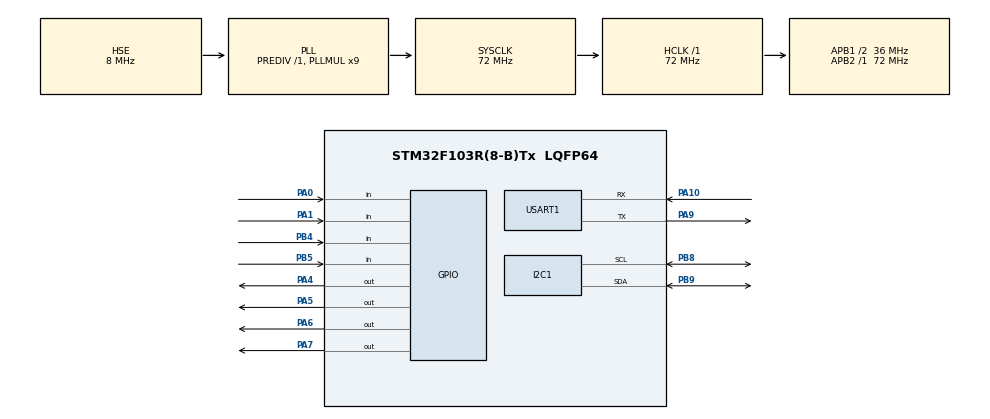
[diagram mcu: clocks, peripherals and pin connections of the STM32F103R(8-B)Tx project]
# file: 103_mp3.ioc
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Mcu.Family=STM32F1
Mcu.Name=STM32F103R(8-B)Tx
Mcu.Package=LQFP64
NVIC.PriorityGroup=NVIC_PRIORITYGROUP_4
PA0-WKUP.Signal=GPIO_Input
PA1.Signal=GPIO_Input
PA10.Mode=Asynchronous
PA10.Signal=USART1_RX
PA13.Mode=Serial_Wire
PA13.Signal=SYS_JTMS-SWDIO
PA14.Mode=Serial_Wire
PA14.Signal=SYS_JTCK-SWCLK
PA4.Signal=GPIO_Output
PA5.Signal=GPIO_Output
PA6.Signal=GPIO_Output
PA7.Signal=GPIO_Output
PA9.Mode=Asynchronous
PA9.Signal=USART1_TX
PB4.Signal=GPIO_Input
PB5.Signal=GPIO_Input
PB8.Mode=I2C
PB8.Signal=I2C1_SCL
PB9.Mode=I2C
PB9.Signal=I2C1_SDA
PD0-OSC_IN.Mode=HSE-External-Oscillator
PD0-OSC_IN.Signal=RCC_OSC_IN
PD1-OSC_OUT.Mode=HSE-External-Oscillator
PD1-OSC_OUT.Signal=RCC_OSC_OUT
ProjectManager.HeapSize=0x200
ProjectManager.StackSize=0x400
ProjectManager.TargetToolchain=TrueSTUDIO
RCC.AHBFreq_Value=72000000
RCC.APB1CLKDivider=RCC_HCLK_DIV2
RCC.APB1Freq_Value=36000000
RCC.APB1TimFreq_Value=72000000
RCC.APB2Freq_Value=72000000
RCC.APB2TimFreq_Value=72000000
RCC.HCLKFreq_Value=72000000
RCC.PLLMUL=RCC_PLL_MUL9
RCC.PLLSourceVirtual=RCC_PLLSOURCE_HSE
RCC.SYSCLKFreq_VALUE=72000000
RCC.SYSCLKSource=RCC_SYSCLKSOURCE_PLLCLK
RCC.USBFreq_Value=72000000
USART1.VirtualMode=VM_ASYNC
board=custom

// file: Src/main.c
/* USER CODE BEGIN Header */
/**
  ******************************************************************************
  * @file           : main.c
  * @brief          : Main program body
  ******************************************************************************
  * @attention
  *
  * <h2><center>&copy; Copyright (c) 2019 STMicroelectronics.
  * All rights reserved.</center></h2>
  *
  * This software component is licensed by ST under BSD 3-Clause license,
  * the "License"; You may not use this file except in compliance with the
  * License. You may obtain a copy of the License at:
  *                        opensource.org/licenses/BSD-3-Clause
  *
  ******************************************************************************
  */
/* USER CODE END Header */

#include "main.h"

/* USER CODE BEGIN Includes */
#include "stm32f1xx_hal.h"
#include <stdlib.h>
#include <stdio.h>
/* USER CODE END Includes */

/* USER CODE BEGIN PTD */
#define R1_PORT GPIOA
#define R1_PIN GPIO_PIN_7

#define R2_PORT GPIOA
#define R2_PIN GPIO_PIN_6

#define R3_PORT GPIOA
#define R3_PIN GPIO_PIN_5

#define R4_PORT GPIOA
#define R4_PIN GPIO_PIN_4

#define C1_PORT GPIOB
#define C1_PIN GPIO_PIN_4

#define C2_PORT GPIOB
#define C2_PIN GPIO_PIN_5

#define C3_PORT GPIOA
#define C3_PIN GPIO_PIN_1

#define C4_PORT GPIOA
#define C4_PIN GPIO_PIN_0

/* USER CODE END PTD */

I2C_HandleTypeDef hi2c1;

UART_HandleTypeDef huart1;

void SystemClock_Config(void);
static void MX_GPIO_Init(void);
static void MX_I2C1_Init(void);
static void MX_USART1_UART_Init(void);

/* USER CODE BEGIN 0 */
int _write(int file, char *ptr, int len)
{
	HAL_UART_Transmit(&huart1,(uint8_t *)ptr, (uint16_t)len, 0xFFFFFFFF);
	return len;
}

uint8_t key;

char read_keypad (void)
{
	/* Make ROW 1 LOW and all other ROWs HIGH */
	HAL_GPIO_WritePin (R1_PORT, R1_PIN, GPIO_PIN_RESET);  //Pull the R1 low
	HAL_GPIO_WritePin (R2_PORT, R2_PIN, GPIO_PIN_SET);  // Pull the R2 High
	HAL_GPIO_WritePin (R3_PORT, R3_PIN, GPIO_PIN_SET);  // Pull the R3 High
	HAL_GPIO_WritePin (R4_PORT, R4_PIN, GPIO_PIN_SET);  // Pull the R4 High

	if (!(HAL_GPIO_ReadPin (C1_PORT, C1_PIN)))   // if the Col 1 is low
	{
		while (!(HAL_GPIO_ReadPin (C1_PORT, C1_PIN)));   // wait till the button is pressed
		return '1';
	}

	if (!(HAL_GPIO_ReadPin (C2_PORT, C2_PIN)))   // if the Col 2 is low
	{
		while (!(HAL_GPIO_ReadPin (C2_PORT, C2_PIN)));   // wait till the button is pressed
		return '2';
	}

	if (!(HAL_GPIO_ReadPin (C3_PORT, C3_PIN)))   // if the Col 3 is low
	{
		while (!(HAL_GPIO_ReadPin (C3_PORT, C3_PIN)));   // wait till the button is pressed
		return '3';
	}

	if (!(HAL_GPIO_ReadPin (C4_PORT, C4_PIN)))   // if the Col 4 is low
	{
		while (!(HAL_GPIO_ReadPin (C4_PORT, C4_PIN)));   // wait till the button is pressed
		return 'A';
	}

	/* Make ROW 2 LOW and all other ROWs HIGH */
	HAL_GPIO_WritePin (R1_PORT, R1_PIN, GPIO_PIN_SET);  //Pull the R1 low
	HAL_GPIO_WritePin (R2_PORT, R2_PIN, GPIO_PIN_RESET);  // Pull the R2 High
	HAL_GPIO_WritePin (R3_PORT, R3_PIN, GPIO_PIN_SET);  // Pull the R3 High
	HAL_GPIO_WritePin (R4_PORT, R4_PIN, GPIO_PIN_SET);  // Pull the R4 High

	if (!(HAL_GPIO_ReadPin (C1_PORT, C1_PIN)))   // if the Col 1 is low
	{
		while (!(HAL_GPIO_ReadPin (C1_PORT, C1_PIN)));   // wait till the button is pressed
		return '4';
	}

	if (!(HAL_GPIO_ReadPin (C2_PORT, C2_PIN)))   // if the Col 2 is low
	{
		while (!(HAL_GPIO_ReadPin (C2_PORT, C2_PIN)));   // wait till the button is pressed
		return '5';
	}

	if (!(HAL_GPIO_ReadPin (C3_PORT, C3_PIN)))   // if the Col 3 is low
	{
		while (!(HAL_GPIO_ReadPin (C3_PORT, C3_PIN)));   // wait till the button is pressed
		return '6';
	}

	if (!(HAL_GPIO_ReadPin (C4_PORT, C4_PIN)))   // if the Col 4 is low
	{
		while (!(HAL_GPIO_ReadPin (C4_PORT, C4_PIN)));   // wait till the button is pressed
		return 'B';
	}

	/* Make ROW 3 LOW and all other ROWs HIGH */
	HAL_GPIO_WritePin (R1_PORT, R1_PIN, GPIO_PIN_SET);  //Pull the R1 low
	HAL_GPIO_WritePin (R2_PORT, R2_PIN, GPIO_PIN_SET);  // Pull the R2 High
	HAL_GPIO_WritePin (R3_PORT, R3_PIN, GPIO_PIN_RESET);  // Pull the R3 High
	HAL_GPIO_WritePin (R4_PORT, R4_PIN, GPIO_PIN_SET);  // Pull the R4 High

	if (!(HAL_GPIO_ReadPin (C1_PORT, C1_PIN)))   // if the Col 1 is low
	{
		while (!(HAL_GPIO_ReadPin (C1_PORT, C1_PIN)));   // wait till the button is pressed
		return '7';
	}

	if (!(HAL_GPIO_ReadPin (C2_PORT, C2_PIN)))   // if the Col 2 is low
	{
		while (!(HAL_GPIO_ReadPin (C2_PORT, C2_PIN)));   // wait till the button is pressed
		return '8';
	}

	if (!(HAL_GPIO_ReadPin (C3_PORT, C3_PIN)))   // if the Col 3 is low
	{
		while (!(HAL_GPIO_ReadPin (C3_PORT, C3_PIN)));   // wait till the button is pressed
		return '9';
	}

	if (!(HAL_GPIO_ReadPin (C4_PORT, C4_PIN)))   // if the Col 4 is low
	{
		while (!(HAL_GPIO_ReadPin (C4_PORT, C4_PIN)));   // wait till the button is pressed
		return 'C';
	}

	/* Make ROW 4 LOW and all other ROWs HIGH */
	HAL_GPIO_WritePin (R1_PORT, R1_PIN, GPIO_PIN_SET);  //Pull the R1 low
	HAL_GPIO_WritePin (R2_PORT, R2_PIN, GPIO_PIN_SET);  // Pull the R2 High
	HAL_GPIO_WritePin (R3_PORT, R3_PIN, GPIO_PIN_SET);  // Pull the R3 High
	HAL_GPIO_WritePin (R4_PORT, R4_PIN, GPIO_PIN_RESET);  // Pull the R4 High

	if (!(HAL_GPIO_ReadPin (C1_PORT, C1_PIN)))   // if the Col 1 is low
	{
		while (!(HAL_GPIO_ReadPin (C1_PORT, C1_PIN)));   // wait till the button is pressed
		return '*';
	}

	if (!(HAL_GPIO_ReadPin (C2_PORT, C2_PIN)))   // if the Col 2 is low
	{
		while (!(HAL_GPIO_ReadPin (C2_PORT, C2_PIN)));   // wait till the button is pressed
		return '0';
	}

	if (!(HAL_GPIO_ReadPin (C3_PORT, C3_PIN)))   // if the Col 3 is low
	{
		while (!(HAL_GPIO_ReadPin (C3_PORT, C3_PIN)));   // wait till the button is pressed
		return '#';
	}
	if (!(HAL_GPIO_ReadPin (C4_PORT, C4_PIN)))   // if the Col 4 is low
	{
		while (!(HAL_GPIO_ReadPin (C4_PORT, C4_PIN)));   // wait till the button is pressed
		return 'D';
	}

	return 0x01;
}

#define delay_ms HAL_Delay
void delay_us(uint32_t us){  // 72MHz
    if(us>1){
        uint32_t count=us*8-6;
        while(count--); //asm volatile("nop");
    }
    else{
        uint32_t count=2;
        while(count--); // asm volatile("nop");
    }
}

#define ADDRESS   0x27<<1
#define RS1_EN1   0x05
#define RS1_EN0   0x01
#define RS0_EN1   0x04
#define RS0_EN0   0x00
#define BackLight 0x08

// RS-Q0 / RW-Q1 / EN-Q2 / BackLight-Q3 / D4-Q4 / D5-Q5 / D6-Q6 / D7-Q7
void LCD_DATA(uint8_t data) {
  uint8_t temp=(data & 0xF0)|RS1_EN1|BackLight;
  while(HAL_I2C_Master_Transmit(&hi2c1, ADDRESS, &temp, 1, 1000)!=HAL_OK);
  temp=(data & 0xF0)|RS1_EN0|BackLight;
  while(HAL_I2C_Master_Transmit(&hi2c1, ADDRESS, &temp, 1, 1000)!=HAL_OK);
  delay_us(4);

  temp=((data << 4) & 0xF0)|RS1_EN1|BackLight;
  while(HAL_I2C_Master_Transmit(&hi2c1, ADDRESS, &temp, 1, 1000)!=HAL_OK);
  temp = ((data << 4) & 0xF0)|RS1_EN0|BackLight;
  while(HAL_I2C_Master_Transmit(&hi2c1, ADDRESS, &temp, 1, 1000)!=HAL_OK);
  delay_us(50);
}

void LCD_CMD(uint8_t cmd) {
  uint8_t temp=(cmd & 0xF0)|RS0_EN1|BackLight;
  while(HAL_I2C_Master_Transmit(&hi2c1, ADDRESS, &temp, 1, 1000)!=HAL_OK);
  temp=(cmd & 0xF0)|RS0_EN0|BackLight;
  while(HAL_I2C_Master_Transmit(&hi2c1, ADDRESS, &temp, 1, 1000)!=HAL_OK);
  delay_us(4);

  temp=((cmd << 4) & 0xF0)|RS0_EN1|BackLight;
  while(HAL_I2C_Master_Transmit(&hi2c1, ADDRESS, &temp, 1, 1000)!=HAL_OK);
  temp=((cmd << 4) & 0xF0)|RS0_EN0|BackLight;
  while(HAL_I2C_Master_Transmit(&hi2c1, ADDRESS, &temp, 1, 1000)!=HAL_OK);
  delay_us(50);
}

void LCD_CMD_4bit(uint8_t cmd) {
  uint8_t temp=((cmd << 4) & 0xF0)|RS0_EN1|BackLight;
  while(HAL_I2C_Master_Transmit(&hi2c1, ADDRESS, &temp, 1, 1000)!=HAL_OK);
  temp=((cmd << 4) & 0xF0)|RS0_EN0|BackLight;
  while(HAL_I2C_Master_Transmit(&hi2c1, ADDRESS, &temp, 1, 1000)!=HAL_OK);
  delay_us(50);
}

void LCD_INIT(void) {
  delay_ms(100);

  LCD_CMD_4bit(0x03); delay_ms(5);
  LCD_CMD_4bit(0x03); delay_us(100);
  LCD_CMD_4bit(0x03); delay_us(100);
  LCD_CMD_4bit(0x02); delay_us(100);
  LCD_CMD(0x28);  // 4 bits, 2 line, 5x8 font
  LCD_CMD(0x08);  // display off, cursor off, blink off
  LCD_CMD(0x01);  // clear display
  delay_ms(3);
  LCD_CMD(0x06);  // cursor movint direction
  LCD_CMD(0x0C);  // display on, cursor off, blink off
}

void LCD_XY(char x, char y) {
  if      (y == 0) LCD_CMD(0x80 + x);
  else if (y == 1) LCD_CMD(0xC0 + x);
  else if (y == 2) LCD_CMD(0x94 + x);
  else if (y == 3) LCD_CMD(0xD4 + x);
}

void LCD_CLEAR(void) {
  LCD_CMD(0x01);
  delay_ms(2);
}

void LCD_PUTS(char *str) {
  while (*str) LCD_DATA(*str++);
}

void append(char* s, char c) {
        int len = strlen(s);
        s[len] = c;
        s[len+1] = '\0';
}
/* USER CODE END 0 */

int main(void)
{
  /* USER CODE BEGIN 1 */

	char s1;
	char s2[100];
	char num1[10];
	char num2[10] ;
	int sum = 0;
    char op ;
    char op2[10] ;
    uint8_t presentValue = 0;
    uint8_t final = 0;
    uint8_t numLength;
	uint8_t count = 0;

    num1[0] = '\0';
	num2[0] = '\0';
	op2[0] = '\0';

  /* USER CODE END 1 */

  /* MCU Configuration--------------------------------------------------------*/

  /* Reset of all peripherals, Initializes the Flash interface and the Systick. */
  HAL_Init();

  /* USER CODE BEGIN Init */
  printf(" Hello Test \r\n");

  /* USER CODE END Init */

  /* Configure the system clock */
  SystemClock_Config();

  /* Initialize all configured peripherals */
  MX_GPIO_Init();
  MX_I2C1_Init();
  MX_USART1_UART_Init();
  /* USER CODE BEGIN 2 */
  LCD_INIT();
//  LCD_XY(0,0);
//  LCD_PUTS("key :");
  /* USER CODE END 2 */

  /* Infinite loop */
  while (1)
  {

    /* USER CODE BEGIN 3 */
	  	key = read_keypad ();

	  	if (key!=0x01)
	  	{

	  		//sprintf(s1,"%c",key);
	  		s1 = (char)key;

	  		if(s1 == '1' || s1 =='2' || s1 =='3'|| s1 =='4'|| s1 =='5'|| s1 =='6'|| s1 =='7'|| s1 =='8'|| s1 =='9'|| s1 =='0')
	  		{
	  			if(presentValue != 1)
	  			{
	  				append(num1, s1);
	  				LCD_XY(0,0);
	  				LCD_PUTS(num1);
	  				numLength = strlen(num1);

	  			}else{
	  				append(num2, s1);
	  				if(count == 0)
	  				{
						numLength = numLength + strlen(num2);
						count = 1;
					}
	  				final = 1;

					LCD_XY(numLength,0);
					LCD_PUTS(num2);

	  			}

	  		}else if(presentValue == 0 && (s1 == 'A'|| s1 =='B' || s1 =='C'|| s1 =='D'))
	  		{
	  			if(s1 == 'A')
	  			{
	  				op = '*';
	  			}else if (s1 == 'B'){
	  				op = '/';
	  			}else if (s1 == 'C'){
	  				op = '-';
	  			}else if (s1 == 'D'){
	  				op = '+';
	  			}
	  			append(op2, op);
	  			numLength = numLength + strlen(op);
				LCD_XY(numLength,0);
				LCD_PUTS(op2);
				presentValue = 1;
	  		}else if(final == 1 && s1 == '#')
	  		{
	  			if (op == '+'){
	  					sum = atoi(num1)+ atoi(num2);
	  			    }
	  			    else if (op == '-'){
	  			    	sum = atoi(num1)- atoi(num2);
	  			    }
	  			    else if (op == '*'){
	  			    	sum =  atoi(num1)* atoi(num2);
	  			    }
	  			    else if (op == '/'){
	  			    	sum = atoi(num1)/ atoi(num2);
	  			    }
	  			LCD_XY(0,1);
	  			sprintf(s2,"%d",sum);
	  			LCD_PUTS(s2);
	  		}else if( s1 == '*')
	  		{
	  			LCD_CLEAR();
	  			 presentValue = 0;
				final = 0;
				num1[0] = '\0';
				num2[0] = '\0';
				op = ' ';
				op2[0] = '\0';
				numLength = 0;
				count = 0;
	  		}

	  	}
	  	  HAL_Delay(200);

  }
  /* USER CODE END 3 */
}

void SystemClock_Config(void)
{
  RCC_OscInitTypeDef RCC_OscInitStruct = {0};
  RCC_ClkInitTypeDef RCC_ClkInitStruct = {0};

  /** Initializes the CPU, AHB and APB busses clocks
  */
  RCC_OscInitStruct.OscillatorType = RCC_OSCILLATORTYPE_HSE;
  RCC_OscInitStruct.HSEState = RCC_HSE_ON;
  RCC_OscInitStruct.HSEPredivValue = RCC_HSE_PREDIV_DIV1;
  RCC_OscInitStruct.HSIState = RCC_HSI_ON;
  RCC_OscInitStruct.PLL.PLLState = RCC_PLL_ON;
  RCC_OscInitStruct.PLL.PLLSource = RCC_PLLSOURCE_HSE;
  RCC_OscInitStruct.PLL.PLLMUL = RCC_PLL_MUL9;
  if (HAL_RCC_OscConfig(&RCC_OscInitStruct) != HAL_OK)
  {
    Error_Handler();
  }
  /** Initializes the CPU, AHB and APB busses clocks
  */
  RCC_ClkInitStruct.ClockType = RCC_CLOCKTYPE_HCLK|RCC_CLOCKTYPE_SYSCLK
                              |RCC_CLOCKTYPE_PCLK1|RCC_CLOCKTYPE_PCLK2;
  RCC_ClkInitStruct.SYSCLKSource = RCC_SYSCLKSOURCE_PLLCLK;
  RCC_ClkInitStruct.AHBCLKDivider = RCC_SYSCLK_DIV1;
  RCC_ClkInitStruct.APB1CLKDivider = RCC_HCLK_DIV2;
  RCC_ClkInitStruct.APB2CLKDivider = RCC_HCLK_DIV1;

  if (HAL_RCC_ClockConfig(&RCC_ClkInitStruct, FLASH_LATENCY_2) != HAL_OK)
  {
    Error_Handler();
  }
}

static void MX_I2C1_Init(void)
{

  hi2c1.Instance = I2C1;
  hi2c1.Init.ClockSpeed = 100000;
  hi2c1.Init.DutyCycle = I2C_DUTYCYCLE_2;
  hi2c1.Init.OwnAddress1 = 0;
  hi2c1.Init.AddressingMode = I2C_ADDRESSINGMODE_7BIT;
  hi2c1.Init.DualAddressMode = I2C_DUALADDRESS_DISABLE;
  hi2c1.Init.OwnAddress2 = 0;
  hi2c1.Init.GeneralCallMode = I2C_GENERALCALL_DISABLE;
  hi2c1.Init.NoStretchMode = I2C_NOSTRETCH_DISABLE;
  if (HAL_I2C_Init(&hi2c1) != HAL_OK)
  {
    Error_Handler();
  }

}

static void MX_USART1_UART_Init(void)
{

  huart1.Instance = USART1;
  huart1.Init.BaudRate = 115200;
  huart1.Init.WordLength = UART_WORDLENGTH_8B;
  huart1.Init.StopBits = UART_STOPBITS_1;
  huart1.Init.Parity = UART_PARITY_NONE;
  huart1.Init.Mode = UART_MODE_TX_RX;
  huart1.Init.HwFlowCtl = UART_HWCONTROL_NONE;
  huart1.Init.OverSampling = UART_OVERSAMPLING_16;
  if (HAL_UART_Init(&huart1) != HAL_OK)
  {
    Error_Handler();
  }

}

static void MX_GPIO_Init(void)
{
  GPIO_InitTypeDef GPIO_InitStruct = {0};

  /* GPIO Ports Clock Enable */
  __HAL_RCC_GPIOD_CLK_ENABLE();
  __HAL_RCC_GPIOA_CLK_ENABLE();
  __HAL_RCC_GPIOB_CLK_ENABLE();

  /*Configure GPIO pin Output Level */
  HAL_GPIO_WritePin(GPIOA, GPIO_PIN_4|GPIO_PIN_5|GPIO_PIN_6|GPIO_PIN_7, GPIO_PIN_RESET);

  /*Configure GPIO pins : PA0 PA1 */
  GPIO_InitStruct.Pin = GPIO_PIN_0|GPIO_PIN_1;
  GPIO_InitStruct.Mode = GPIO_MODE_INPUT;
  GPIO_InitStruct.Pull = GPIO_NOPULL;
  HAL_GPIO_Init(GPIOA, &GPIO_InitStruct);

  /*Configure GPIO pins : PA4 PA5 PA6 PA7 */
  GPIO_InitStruct.Pin = GPIO_PIN_4|GPIO_PIN_5|GPIO_PIN_6|GPIO_PIN_7;
  GPIO_InitStruct.Mode = GPIO_MODE_OUTPUT_PP;
  GPIO_InitStruct.Pull = GPIO_NOPULL;
  GPIO_InitStruct.Speed = GPIO_SPEED_FREQ_LOW;
  HAL_GPIO_Init(GPIOA, &GPIO_InitStruct);

  /*Configure GPIO pins : PB4 PB5 */
  GPIO_InitStruct.Pin = GPIO_PIN_4|GPIO_PIN_5;
  GPIO_InitStruct.Mode = GPIO_MODE_INPUT;
  GPIO_InitStruct.Pull = GPIO_NOPULL;
  HAL_GPIO_Init(GPIOB, &GPIO_InitStruct);

}

void Error_Handler(void)
{
}

/************************ (C) COPYRIGHT STMicroelectronics *****END OF FILE****/
